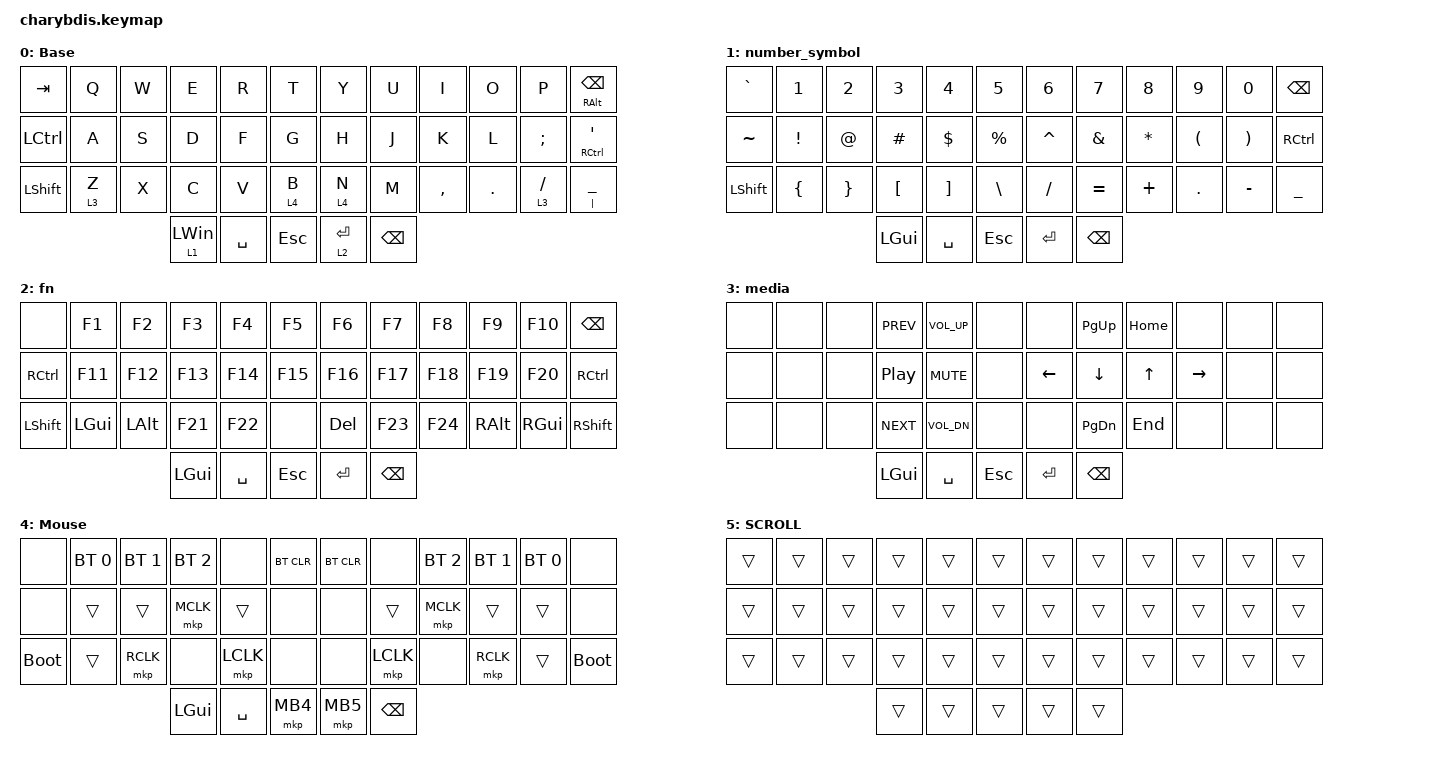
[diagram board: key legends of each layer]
#include <behaviors/mouse_keys.dtsi>
#include <behaviors.dtsi>
#include <dt-bindings/zmk/bt.h>
#include <dt-bindings/zmk/keys.h>
#include <dt-bindings/zmk/mouse.h>
#include <dt-bindings/zmk/outputs.h>

#define U_TAPPING_TERM 200

/ {
    combos {
        compatible = "zmk,combos";

        lctrl {
            bindings = <&kp LCTRL>;
            key-positions = <15 16>;
            layers = <0 2 1 3 4>;
        };

        rctrl {
            bindings = <&kp RCTRL>;
            key-positions = <19 20>;
            layers = <0 2 1 3 4>;
        };

        lshift {
            bindings = <&kp LEFT_SHIFT>;
            key-positions = <15 14>;
            layers = <0 2 1 3 4>;
        };

        rshift {
            bindings = <&kp RIGHT_SHIFT>;
            key-positions = <20 21>;
            layers = <0 2 1 3 4>;
        };

        lalt {
            bindings = <&kp LEFT_ALT>;
            key-positions = <27 28>;
            layers = <0 2 1 3 4>;
        };

        ralt {
            bindings = <&kp RIGHT_ALT>;
            key-positions = <31 32>;
            layers = <0 2 1 3 4>;
        };

        lwin {
            bindings = <&kp LEFT_GUI>;
            key-positions = <16 14>;
            layers = <0 2 1 3 4>;
        };

        rwin {
            bindings = <&kp RIGHT_GUI>;
            key-positions = <19 21>;
            layers = <0 2 1 3 4>;
        };
    };

    behaviors {
        u_mt: u_mt {
            compatible = "zmk,behavior-hold-tap";
            label = "u_mt";
            #binding-cells = <2>;
            tapping_term_ms = <U_TAPPING_TERM>;
            flavor = "tap-preferred";
            bindings = <&kp>, <&kp>;
        };

        u_lt: u_lt {
            compatible = "zmk,behavior-hold-tap";
            label = "u_lt";
            #binding-cells = <2>;
            tapping_term_ms = <U_TAPPING_TERM>;
            flavor = "tap-preferred";
            bindings = <&mo>, <&kp>;
        };

        Shift_Enter: Shift_Enter {
            compatible = "zmk,behavior-hold-tap";
            label = "SHIFT_ENTER";
            bindings = <&kp>, <&kp>;

            #binding-cells = <2>;
            hold-trigger-key-positions = <40>;
            tapping-term-ms = <100>;
        };
    };

    keymap {
        compatible = "zmk,keymap";

        Base {
            bindings = <
&kp TAB         &kp Q    &kp W  &kp E           &kp R      &kp T         &kp Y        &kp U     &kp I      &kp O    &kp P        &mt RIGHT_ALT BSPC
&kp LCTRL       &kp A    &kp S  &kp D           &kp F      &kp G         &kp H        &kp J     &kp K      &kp L    &kp SEMI     &mt RCTRL APOS
&kp LEFT_SHIFT  &lt 3 Z  &kp X  &kp C           &kp V      &lt 4 B       &lt 4 N      &kp M     &kp COMMA  &kp DOT  &lt 3 SLASH  &mt PIPE UNDERSCORE
                                &lt 1 LEFT_WIN  &kp SPACE  &kp ESCAPE    &lt 2 ENTER  &kp BSPC
            >;

            trackball-bindings = <&tmv_coarse>;
        };

        number_symbol {
            bindings = <
&kp GRAVE       &kp NUMBER_1     &kp NUMBER_2     &kp NUMBER_3      &kp NUMBER_4       &kp N5         &kp N6     &kp N7         &kp N8     &kp N9                &kp N0                 &kp BACKSPACE
&kp TILDE       &kp EXCLAMATION  &kp AT           &kp HASH          &kp DOLLAR         &kp PERCENT    &kp CARET  &kp AMPERSAND  &kp ASTRK  &kp LEFT_PARENTHESIS  &kp RIGHT_PARENTHESIS  &kp RCTRL
&kp LEFT_SHIFT  &kp LEFT_BRACE   &kp RIGHT_BRACE  &kp LEFT_BRACKET  &kp RIGHT_BRACKET  &kp BSLH       &kp SLASH  &kp EQUAL      &kp PLUS   &kp DOT               &kp MINUS              &kp UNDERSCORE
                                                  &kp LEFT_GUI      &kp SPACE          &kp ESC        &kp ENTER  &kp BACKSPACE
            >;
        };

        fn {
            bindings = <
&none           &kp F1        &kp F2        &kp F3        &kp F4     &kp F5     &kp F6     &kp F7         &kp F8   &kp F9         &kp F10        &kp BSPC
&kp RCTRL       &kp F11       &kp F12       &kp F13       &kp F14    &kp F15    &kp F16    &kp F17        &kp F18  &kp F19        &kp F20        &kp RCTRL
&kp LEFT_SHIFT  &kp LEFT_GUI  &kp LEFT_ALT  &kp F21       &kp F22    &none      &kp DEL    &kp F23        &kp F24  &kp RIGHT_ALT  &kp RIGHT_GUI  &kp RIGHT_SHIFT
                                            &kp LEFT_GUI  &kp SPACE  &kp ESC    &kp ENTER  &kp BACKSPACE
            >;
        };

        media {
            bindings = <
&none  &none  &none  &kp C_PREV        &kp C_VOL_UP  &none      &none           &kp PAGE_UP     &kp HOME      &none            &none  &none
&none  &none  &none  &kp C_PLAY_PAUSE  &kp C_MUTE    &none      &kp LEFT_ARROW  &kp DOWN_ARROW  &kp UP_ARROW  &kp RIGHT_ARROW  &none  &none
&none  &none  &none  &kp C_NEXT        &kp C_VOL_DN  &none      &none           &kp PAGE_DOWN   &kp END       &none            &none  &none
                     &kp LEFT_GUI      &kp SPACE     &kp ESC    &kp ENTER       &kp BSPC
            >;
        };

        Mouse {
            bindings = <
&none        &bt BT_SEL 0  &bt BT_SEL 1  &bt BT_SEL 2  &none      &bt BT_CLR    &bt BT_CLR  &none      &bt BT_SEL 2  &bt BT_SEL 1  &bt BT_SEL 0  &none
&none        &trans        &trans        &mkp MCLK     &trans     &none         &none       &trans     &mkp MCLK     &trans        &trans        &none
&bootloader  &trans        &mkp RCLK     &none         &mkp LCLK  &none         &none       &mkp LCLK  &none         &mkp RCLK     &trans        &bootloader
                                         &kp LEFT_GUI  &kp SPACE  &mkp MB4      &mkp MB5    &kp BSPC
            >;
        };

        SCROLL {
            bindings = <
&trans  &trans  &trans  &trans  &trans  &trans    &trans  &trans  &trans  &trans  &trans  &trans
&trans  &trans  &trans  &trans  &trans  &trans    &trans  &trans  &trans  &trans  &trans  &trans
&trans  &trans  &trans  &trans  &trans  &trans    &trans  &trans  &trans  &trans  &trans  &trans
                        &trans  &trans  &trans    &trans  &trans
            >;
        };
    };
};
